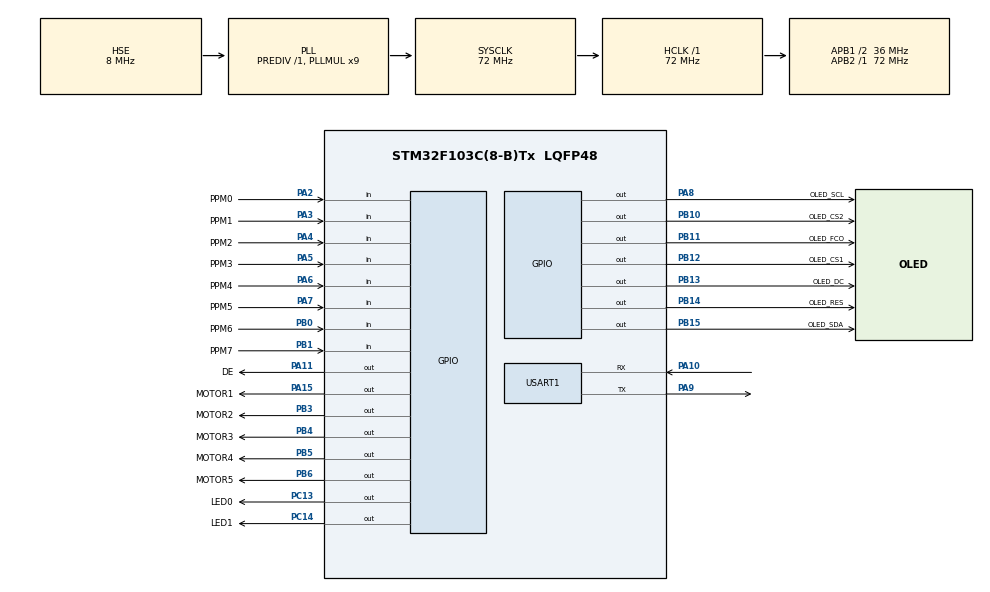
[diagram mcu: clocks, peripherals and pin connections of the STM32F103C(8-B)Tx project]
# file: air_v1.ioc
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Dma.Request0=USART1_RX
Dma.Request1=USART1_TX
Dma.USART1_RX.0.Direction=DMA_PERIPH_TO_MEMORY
Dma.USART1_RX.0.Instance=DMA1_Channel5
Dma.USART1_RX.0.MemDataAlignment=DMA_MDATAALIGN_BYTE
Dma.USART1_RX.0.MemInc=DMA_MINC_ENABLE
Dma.USART1_RX.0.Mode=DMA_CIRCULAR
Dma.USART1_RX.0.PeriphDataAlignment=DMA_PDATAALIGN_BYTE
Dma.USART1_RX.0.PeriphInc=DMA_PINC_DISABLE
Dma.USART1_RX.0.Priority=DMA_PRIORITY_LOW
Dma.USART1_TX.1.Direction=DMA_MEMORY_TO_PERIPH
Dma.USART1_TX.1.Instance=DMA1_Channel4
Dma.USART1_TX.1.MemDataAlignment=DMA_MDATAALIGN_BYTE
Dma.USART1_TX.1.MemInc=DMA_MINC_ENABLE
Dma.USART1_TX.1.Mode=DMA_NORMAL
Dma.USART1_TX.1.PeriphDataAlignment=DMA_PDATAALIGN_BYTE
Dma.USART1_TX.1.PeriphInc=DMA_PINC_DISABLE
Dma.USART1_TX.1.Priority=DMA_PRIORITY_LOW
Mcu.Family=STM32F1
Mcu.Name=STM32F103C(8-B)Tx
Mcu.Package=LQFP48
NVIC.DMA1_Channel4_IRQn=true\:0\:0\:false\:false\:true\:false
NVIC.DMA1_Channel5_IRQn=true\:0\:0\:false\:false\:true\:false
NVIC.PriorityGroup=NVIC_PRIORITYGROUP_4
NVIC.TIM2_IRQn=true\:0\:0\:false\:false\:true\:true
NVIC.TIM3_IRQn=true\:0\:0\:false\:false\:true\:true
NVIC.USART1_IRQn=true\:0\:0\:false\:false\:true\:true
PA10.Mode=Asynchronous
PA10.Signal=USART1_RX
PA11.GPIO_Label=DE
PA11.Signal=GPIO_Output
PA13.Mode=Serial_Wire
PA13.Signal=SYS_JTMS-SWDIO
PA14.Mode=Serial_Wire
PA14.Signal=SYS_JTCK-SWCLK
PA15.GPIO_Label=MOTOR1
PA15.Signal=GPIO_Output
PA2.GPIO_Label=PPM0
PA2.Signal=GPIO_Input
PA3.GPIO_Label=PPM1
PA3.Signal=GPIO_Input
PA4.GPIO_Label=PPM2
PA4.Signal=GPIO_Input
PA5.GPIO_Label=PPM3
PA5.Signal=GPIO_Input
PA6.GPIO_Label=PPM4
PA6.Signal=GPIO_Input
PA7.GPIO_Label=PPM5
PA7.Signal=GPIO_Input
PA8.GPIO_Label=OLED_SCL
PA8.Signal=GPIO_Output
PA9.Mode=Asynchronous
PA9.Signal=USART1_TX
PB0.GPIO_Label=PPM6
PB0.Signal=GPIO_Input
PB1.GPIO_Label=PPM7
PB1.Signal=GPIO_Input
PB10.GPIO_Label=OLED_CS2
PB10.Signal=GPIO_Output
PB11.GPIO_Label=OLED_FCO
PB11.Signal=GPIO_Output
PB12.GPIO_Label=OLED_CS1
PB12.Signal=GPIO_Output
PB13.GPIO_Label=OLED_DC
PB13.Signal=GPIO_Output
PB14.GPIO_Label=OLED_RES
PB14.Signal=GPIO_Output
PB15.GPIO_Label=OLED_SDA
PB15.Signal=GPIO_Output
PB3.GPIO_Label=MOTOR2
PB3.Signal=GPIO_Output
PB4.GPIO_Label=MOTOR3
PB4.Signal=GPIO_Output
PB5.GPIO_Label=MOTOR4
PB5.Signal=GPIO_Output
PB6.GPIO_Label=MOTOR5
PB6.Signal=GPIO_Output
PC13-TAMPER-RTC.GPIO_Label=LED0
PC13-TAMPER-RTC.Signal=GPIO_Output
PC14-OSC32_IN.GPIO_Label=LED1
PC14-OSC32_IN.Signal=GPIO_Output
PD0-OSC_IN.Mode=HSE-External-Oscillator
PD0-OSC_IN.Signal=RCC_OSC_IN
PD1-OSC_OUT.Mode=HSE-External-Oscillator
PD1-OSC_OUT.Signal=RCC_OSC_OUT
ProjectManager.HeapSize=0x200
ProjectManager.StackSize=0x400
ProjectManager.TargetToolchain=MDK-ARM V5
RCC.AHBFreq_Value=72000000
RCC.APB1CLKDivider=RCC_HCLK_DIV2
RCC.APB1Freq_Value=36000000
RCC.APB1TimFreq_Value=72000000
RCC.APB2Freq_Value=72000000
RCC.APB2TimFreq_Value=72000000
RCC.HCLKFreq_Value=72000000
RCC.PLLMUL=RCC_PLL_MUL9
RCC.PLLSourceVirtual=RCC_PLLSOURCE_HSE
RCC.SYSCLKFreq_VALUE=72000000
RCC.SYSCLKSource=RCC_SYSCLKSOURCE_PLLCLK
RCC.USBFreq_Value=72000000
TIM2.Period=999
TIM2.Prescaler=71
TIM3.Period=10
TIM3.Prescaler=71
USART1.VirtualMode=VM_ASYNC
VP_TIM2_VS_ClockSourceINT.Mode=Internal
VP_TIM3_VS_ClockSourceINT.Mode=Internal
board=custom

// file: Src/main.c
/* USER CODE BEGIN Header */
/**
  ******************************************************************************
  * @file           : main.c
  * @brief          : Main program body
  ******************************************************************************
  ** This notice applies to any and all portions of this file
  * that are not between comment pairs USER CODE BEGIN and
  * USER CODE END. Other portions of this file, whether
  * inserted by the user or by software development tools
  * are owned by their respective copyright owners.
  *
  * COPYRIGHT(c) 2018 STMicroelectronics
  *
  * Redistribution and use in source and binary forms, with or without modification,
  * are permitted provided that the following conditions are met:
  *   1. Redistributions of source code must retain the above copyright notice,
  *      this list of conditions and the following disclaimer.
  *   2. Redistributions in binary form must reproduce the above copyright notice,
  *      this list of conditions and the following disclaimer in the documentation
  *      and/or other materials provided with the distribution.
  *   3. Neither the name of STMicroelectronics nor the names of its contributors
  *      may be used to endorse or promote products derived from this software
  *      without specific prior written permission.
  *
  * THIS SOFTWARE IS PROVIDED BY THE COPYRIGHT HOLDERS AND CONTRIBUTORS "AS IS"
  * AND ANY EXPRESS OR IMPLIED WARRANTIES, INCLUDING, BUT NOT LIMITED TO, THE
  * IMPLIED WARRANTIES OF MERCHANTABILITY AND FITNESS FOR A PARTICULAR PURPOSE ARE
  * DISCLAIMED. IN NO EVENT SHALL THE COPYRIGHT HOLDER OR CONTRIBUTORS BE LIABLE
  * FOR ANY DIRECT, INDIRECT, INCIDENTAL, SPECIAL, EXEMPLARY, OR CONSEQUENTIAL
  * DAMAGES (INCLUDING, BUT NOT LIMITED TO, PROCUREMENT OF SUBSTITUTE GOODS OR
  * SERVICES; LOSS OF USE, DATA, OR PROFITS; OR BUSINESS INTERRUPTION) HOWEVER
  * CAUSED AND ON ANY THEORY OF LIABILITY, WHETHER IN CONTRACT, STRICT LIABILITY,
  * OR TORT (INCLUDING NEGLIGENCE OR OTHERWISE) ARISING IN ANY WAY OUT OF THE USE
  * OF THIS SOFTWARE, EVEN IF ADVISED OF THE POSSIBILITY OF SUCH DAMAGE.
  *
  ******************************************************************************
  */
/* USER CODE END Header */

#include "main.h"
#include "dma.h"
#include "tim.h"
#include "usart.h"
#include "gpio.h"

/* USER CODE BEGIN Includes */
#include "../../code/oled.h"
#include "../../code/timer.h"
#include "../../code/ppm.h"
#include "../../code/mession.h"

#include <stdbool.h>
/* USER CODE END Includes */

void SystemClock_Config(void);

/* USER CODE BEGIN 0 */

bool inited_ = false;

/* USER CODE END 0 */

int main(void)
{

  /* MCU Configuration--------------------------------------------------------*/

  /* Reset of all peripherals, Initializes the Flash interface and the Systick. */
  HAL_Init();

  /* Configure the system clock */
  SystemClock_Config();

  /* Initialize all configured peripherals */
  MX_GPIO_Init();
  MX_DMA_Init();
  MX_USART1_UART_Init();
  MX_TIM2_Init();
  MX_TIM3_Init();
  /* USER CODE BEGIN 2 */

  inited_ = false;

	mession_init();//

	oled_init();//??ê??á3?ê??ˉ

	ppm_init();

	timer_init();

  for(int i=0;i<20;++i){

    oled_loading(0);

    HAL_Delay(1000);//等待开机完毕

  }

  inited_ = true;

  /* USER CODE END 2 */

  /* Infinite loop */
  while (1)
  {

			mession_polling();
		ppm_polling();

    /* USER CODE BEGIN 3 */

	  //oled_polling();

  }
  /* USER CODE END 3 */
}

void SystemClock_Config(void)
{
  RCC_OscInitTypeDef RCC_OscInitStruct = {0};
  RCC_ClkInitTypeDef RCC_ClkInitStruct = {0};

  /**Initializes the CPU, AHB and APB busses clocks
  */
  RCC_OscInitStruct.OscillatorType = RCC_OSCILLATORTYPE_HSE;
  RCC_OscInitStruct.HSEState = RCC_HSE_ON;
  RCC_OscInitStruct.HSEPredivValue = RCC_HSE_PREDIV_DIV1;
  RCC_OscInitStruct.HSIState = RCC_HSI_ON;
  RCC_OscInitStruct.PLL.PLLState = RCC_PLL_ON;
  RCC_OscInitStruct.PLL.PLLSource = RCC_PLLSOURCE_HSE;
  RCC_OscInitStruct.PLL.PLLMUL = RCC_PLL_MUL9;
  if (HAL_RCC_OscConfig(&RCC_OscInitStruct) != HAL_OK)
  {
    Error_Handler();
  }
  /**Initializes the CPU, AHB and APB busses clocks
  */
  RCC_ClkInitStruct.ClockType = RCC_CLOCKTYPE_HCLK|RCC_CLOCKTYPE_SYSCLK
                              |RCC_CLOCKTYPE_PCLK1|RCC_CLOCKTYPE_PCLK2;
  RCC_ClkInitStruct.SYSCLKSource = RCC_SYSCLKSOURCE_PLLCLK;
  RCC_ClkInitStruct.AHBCLKDivider = RCC_SYSCLK_DIV1;
  RCC_ClkInitStruct.APB1CLKDivider = RCC_HCLK_DIV2;
  RCC_ClkInitStruct.APB2CLKDivider = RCC_HCLK_DIV1;

  if (HAL_RCC_ClockConfig(&RCC_ClkInitStruct, FLASH_LATENCY_2) != HAL_OK)
  {
    Error_Handler();
  }
}

void Error_Handler(void)
{
}

/************************ (C) COPYRIGHT STMicroelectronics *****END OF FILE****/
